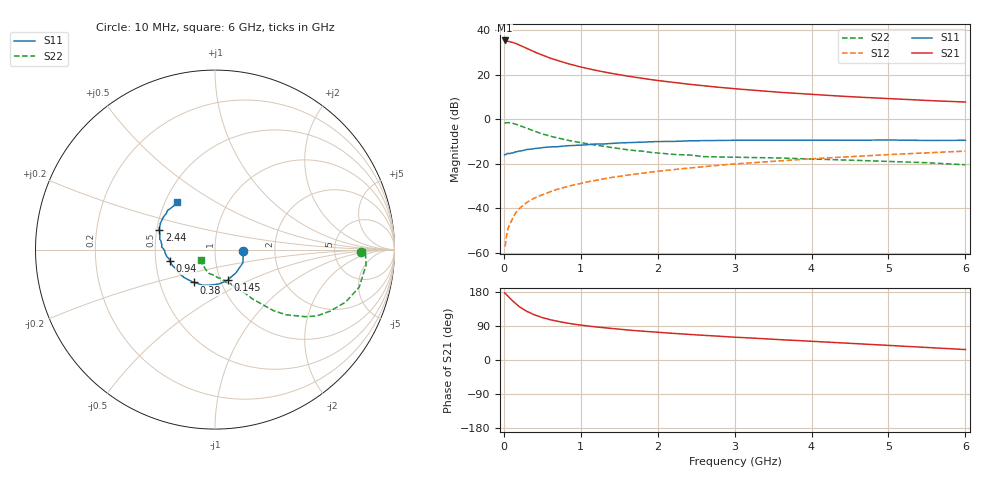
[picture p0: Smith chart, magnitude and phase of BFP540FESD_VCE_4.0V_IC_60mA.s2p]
! Infineon Technologies  Discrete & RF Semiconductors
! BFP540FESD
! VCE =  4.0 V,  IC =  60 mA
! Common Emitter S-Parameters:  Nov 2015
# GHz  S  MA  R  50
!  f  S11  S21  S12  S22
! GHz  MAG  ANG  MAG  ANG  MAG  ANG  MAG  ANG
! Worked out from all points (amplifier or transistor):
!   210 points, 10 MHz to 6 GHz, reference 50 ohm
!   highest |S21| = 35.5 dB at 10 MHz (marker M1)
!   |S21| within 3 dB of that: start of sweep to 261.8 MHz
!   unconditionally stable (mu >= 1): start of sweep to 39.42 MHz; 1.155 GHz to end of sweep
!   at 185 MHz: K = 0.60, MSG = 37.3 dB, |S12| = -40.8 dB
!   at 1.52 GHz: K = 1.04, MAG = 21.5 dB, |S12| = -25.6 dB
!   at 6 GHz: K = 1.16, MAG = 8.6 dB, |S12| = -14.3 dB
!   S11 on the Smith chart (normalised r, x): 10 MHz: 1.38, -0.03; 145 MHz: 1.08, -0.38; 380 MHz: 0.75, -0.29; 940 MHz: 0.59, -0.08; 2.44 GHz: 0.52, +0.13; 6 GHz: 0.58, +0.35
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0.01  0.1586 -3.5  59.54 177.0  0.0014 75.0  0.8133 -0.8
0.02  0.1612 -12.7  57.26 175.6  0.0015 77.3  0.8369 0.0
0.05  0.1718 -25.2  57.45 169.3  0.0033 74.5  0.8462 -5.8
0.1  0.1747 -48.1  54.72 158.7  0.0052 77.7  0.8303 -14.6
0.145  0.1836 -67.7  51.77 150.4  0.0074 74.1  0.7884 -21.1
0.2  0.1929 -83.8  47.19 140.9  0.0097 73.8  0.7285 -28.0
0.24  0.1971 -94.8  43.85 135.6  0.0112 72.5  0.6868 -32.0
0.3  0.2101 -109.1  39.31 128.1  0.0135 73.4  0.6251 -36.7
0.38  0.2165 -122.4  34.01 120.9  0.0163 72.2  0.5557 -41.1
0.4  0.2199 -125.6  32.78 118.8  0.017 72.0  0.5389 -42.4
0.5  0.2317 -137.7  27.84 111.8  0.02 72.4  0.4696 -46.3
0.6  0.2396 -146.3  23.91 106.4  0.0235 72.6  0.4182 -48.5
0.78  0.2512 -158.4  19.05 99.0  0.0294 71.2  0.353 -52.2
0.94  0.2592 -166.1  16 93.8  0.0343 71.7  0.3112 -54.5
1.02  0.2634 -169.2  14.79 91.6  0.0367 71.6  0.2943 -55.7
1.5  0.2964 177.4  10.08 81.2  0.052 69.5  0.2208 -64.3
2.02  0.3167 166.4  7.405 72.8  0.0682 66.2  0.1742 -75.8
2.44  0.3297 160.3  6.07 67.1  0.0813 63.8  0.1554 -85.2
3.1  0.3377 153.6  4.731 59.2  0.1017 59.4  0.1397 -98.0
4.1  0.3393 146.8  3.553 48.3  0.1324 52.8  0.1265 -111.8
5.1  0.3408 139.2  2.869 37.4  0.1638 44.7  0.111 -124.6
6  0.3373 128.3  2.451 27.6  0.1924 37.3  0.0952 -144.0
